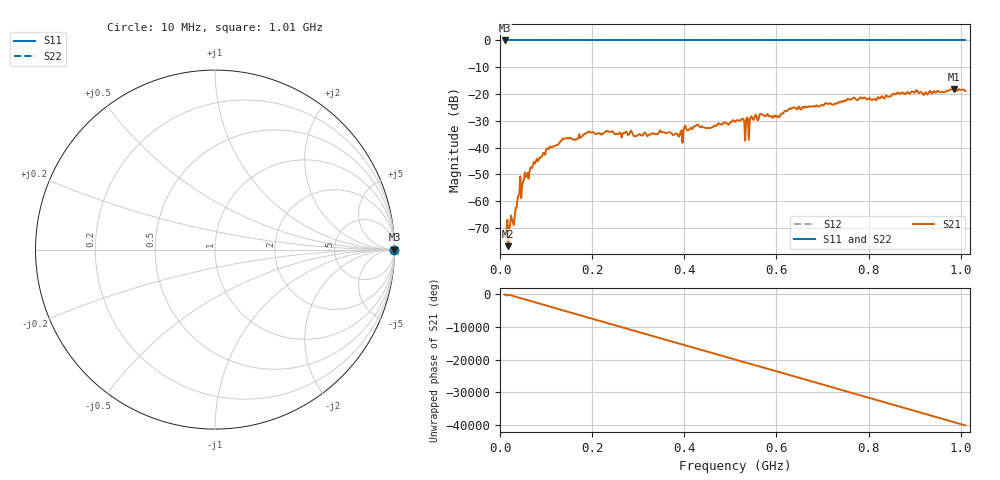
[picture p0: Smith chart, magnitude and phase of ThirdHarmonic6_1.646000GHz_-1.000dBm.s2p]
! 8/16/2025 7:42:09 PM
! C:\ANRITSUVNA\TEMP\TEMP.S2P
! CHANNEL.1
! TR.MEASUREMENT
! RAW.DATA
! RF.CORRECTION.OFF
! AVERAGING.OFF
! IF.BANDWIDTH: 5KHZ
! SWEEPTYPE:  FREQ.SWEEP(Linear)
! Reference Plane Port Info
! PORT:  PORT1  PORT2
! DISTANCE:  0  m  0  m
! TIME:  0  s  0  s
! PHASE.OFFSET:  0  deg.  0  deg.
! LOSS:  0  dB  0  dB
! REF.LOSS:  0  dB  0  dB
! REF.FREQ:  0  Hz  0  Hz
! Power Info
! POWER:  -20  dBm  -20  dBm
! EFF.POWER:  -20  dBm  -20  dBm
! SOURCE.ATTEN:  0  dB  0  dB
! TEST.ATTEN:  0  dB  0  dB
# GHZ S RI R 50.0
! FREQ.GHZ  S11RE  S11IM  S21RE  S21IM  S12RE  S12IM  S22RE  S22IM
!; PortSelection: Port_12
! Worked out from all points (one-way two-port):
!   501 points, 10 MHz to 1.01 GHz, reference 50 ohm
!   highest |S21| = -18.19 dB at 986 MHz (marker M1); lowest = -76.9 dB at 18 MHz (marker M2)
!   lowest |S11| = 0.0 dB at 10 MHz (marker M3)
!   |S11| at or under -10 dB: nowhere
!   |S22| runs from 0.0 to 0.0 dB; largest |S21 - S12| = 1.1
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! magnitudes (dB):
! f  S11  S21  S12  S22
! 10 MHz  0.0  -72.5  0.0  0.0
! 18 MHz  0.0  -76.9  0.0  0.0
! 32 MHz  0.0  -65.7  0.0  0.0
! 40 MHz  0.0  -57.9  0.0  0.0
! 52 MHz  0.0  -51.9  0.0  0.0
! 76 MHz  0.0  -46.0  0.0  0.0
! 138 MHz  0.0  -36.9  0.0  0.0
! 178 MHz  0.0  -35.8  0.0  0.0
! 344 MHz  0.0  -34.6  0.0  0.0
! 392 MHz  0.0  -34.1  0.0  0.0
! 426 MHz  0.0  -31.7  0.0  0.0
! 510 MHz  0.0  -30.4  0.0  0.0
! 526 MHz  0.0  -29.3  0.0  0.0
! 536 MHz  0.0  -28.9  0.0  0.0
! 546 MHz  0.0  -28.3  0.0  0.0
! 568 MHz  0.0  -27.7  0.0  0.0
! 604 MHz  0.0  -28.5  0.0  0.0
! 636 MHz  0.0  -25.1  0.0  0.0
! 678 MHz  0.0  -24.5  0.0  0.0
! 844 MHz  0.0  -21.0  0.0  0.0
! 986 MHz  0.0  -18.2  0.0  0.0
! 1.01 GHz  0.0  -18.9  0.0  0.0
